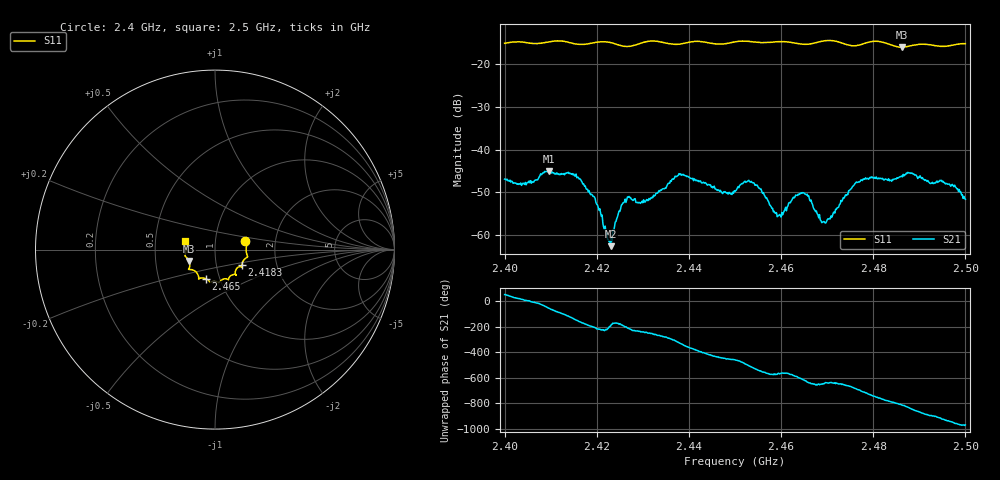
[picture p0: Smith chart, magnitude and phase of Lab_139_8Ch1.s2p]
# Hz S RI R 50
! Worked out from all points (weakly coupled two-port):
!   601 points, 2.4 GHz to 2.5 GHz, reference 50 ohm
!   highest |S21| = -45.08 dB at 2.4097 GHz (marker M1); lowest = -62.6 dB at 2.423 GHz (marker M2)
!   lowest |S11| = -16.1 dB at 2.4862 GHz (marker M3), VSWR 1.37, Z = 37.2 - j4.83 ohm
!   |S11| at or under -10 dB: start of sweep to end of sweep
!   S12 and S22 are empty: the file has one direction only
!   S11 on the Smith chart (normalised r, x): 2.4 GHz: 1.40, +0.14; 2.4183 GHz: 1.33, -0.24; 2.465 GHz: 0.86, -0.28; 2.5 GHz: 0.71, +0.07
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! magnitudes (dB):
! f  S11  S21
! 2.4 GHz  -15.2  -46.9
! 2.4042 GHz  -14.9  -48.0
! 2.4097 GHz  -14.8  -45.1
! 2.4167 GHz  -15.4  -47.3
! 2.4183 GHz  -15.2  -49.6
! 2.423 GHz  -15.0  -62.6
! 2.4252 GHz  -15.7  -53.9
! 2.4265 GHz  -15.9  -51.7
! 2.4295 GHz  -15.2  -52.6
! 2.4333 GHz  -14.7  -50.0
! 2.4383 GHz  -15.3  -46.0
! 2.45 GHz  -14.8  -49.8
! 2.4537 GHz  -14.8  -47.6
! 2.4595 GHz  -14.8  -55.4
! 2.465 GHz  -15.4  -50.2
! 2.4667 GHz  -15.2  -52.5
! 2.4693 GHz  -14.6  -56.8
! 2.4763 GHz  -15.7  -47.6
! 2.4833 GHz  -15.3  -46.8
! 2.4862 GHz  -16.1  -46.2
! 2.495 GHz  -15.9  -47.5
! 2.5 GHz  -15.2  -51.6
